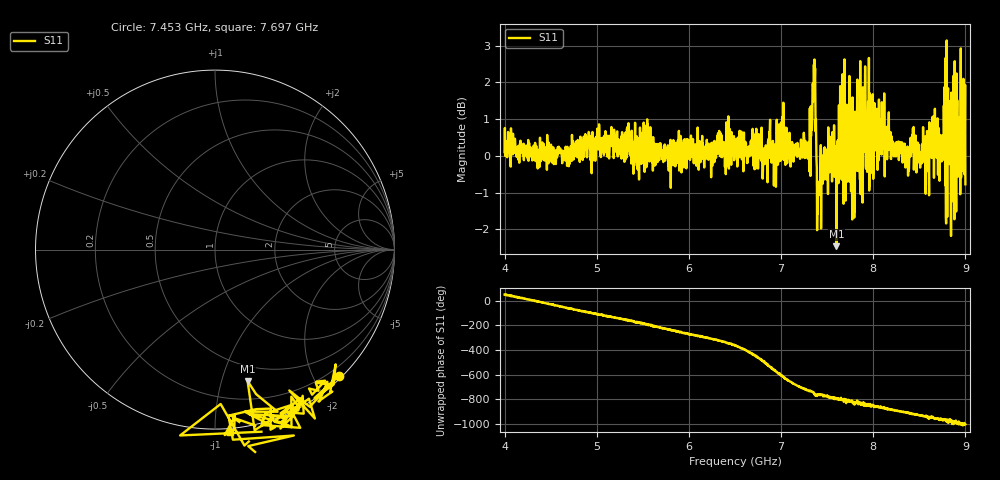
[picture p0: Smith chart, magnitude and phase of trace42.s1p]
! Created with skrf 1.8.0 (http://scikit-rf.org).
# Hz S RI R 50.0
!freq ReS11 ImS11
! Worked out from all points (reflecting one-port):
!   1601 points, 4 GHz to 9 GHz, reference 50 ohm
!   lowest |S11| = -2.5 dB at 7.6 GHz (marker M1), VSWR 7.12, Z = 17.9 - j60.7 ohm
!   phase of S11 starts at 50 deg and turns -1052 deg over the sweep
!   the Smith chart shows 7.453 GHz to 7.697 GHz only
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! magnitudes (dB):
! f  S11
! 4 GHz  0.1
! 4.625 GHz  -0.2
! 5.25 GHz  0.0
! 5.875 GHz  0.0
! 6.5 GHz  0.1
! 6.922 GHz  -0.8
! 7.038 GHz  0.3
! 7.125 GHz  0.2
! 7.294 GHz  -0.1
! 7.347 GHz  1.9
! 7.362 GHz  2.6
! 7.409 GHz  -1.0
! 7.538 GHz  0.2
! 7.6 GHz  -2.5
! 7.662 GHz  0.1
! 7.75 GHz  -0.5
! 7.775 GHz  1.6
! 7.828 GHz  2.1
! 7.928 GHz  0.8
! 7.981 GHz  -0.2
! 8.097 GHz  0.2
! 8.375 GHz  -0.1
! 8.656 GHz  0.6
! 8.725 GHz  0.5
! 8.8 GHz  0.8
! 8.875 GHz  0.8
! 8.972 GHz  0.7
! 9 GHz  -0.8
